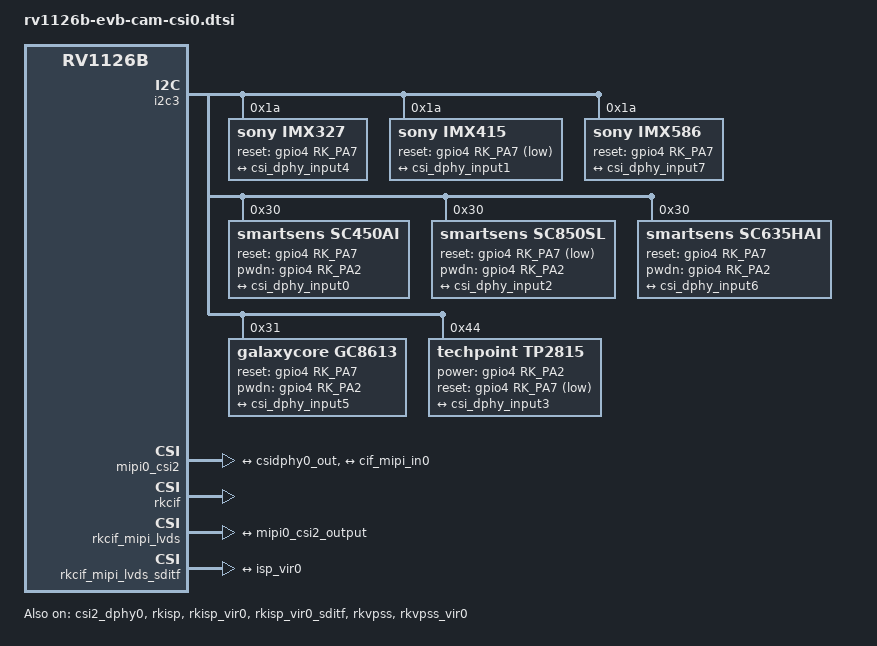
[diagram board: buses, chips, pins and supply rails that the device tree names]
// SPDX-License-Identifier: (GPL-2.0+ OR MIT)
/*
 * Copyright (c) 2025 Rockchip Electronics Co., Ltd.
 *
 */

&csi2_dphy0 {
	status = "okay";

	ports {
		#address-cells = <1>;
		#size-cells = <0>;
		port@0 {
			reg = <0>;
			#address-cells = <1>;
			#size-cells = <0>;

			csi_dphy_input0: endpoint@1 {
				reg = <1>;
				remote-endpoint = <&sc450ai_out>;
				data-lanes = <1 2>;
			};

			csi_dphy_input1: endpoint@2 {
				reg = <2>;
				remote-endpoint = <&imx415_out>;
				data-lanes = <1 2 3 4>;
			};

			csi_dphy_input2: endpoint@3 {
				reg = <3>;
				remote-endpoint = <&sc850sl_out>;
				data-lanes = <1 2 3 4>;
			};

			csi_dphy_input3: endpoint@4 {
				reg = <4>;
				remote-endpoint = <&tp2815_out>;
				data-lanes = <1 2 3 4>;
			};

			csi_dphy_input4: endpoint@5 {
				reg = <5>;
				remote-endpoint = <&imx327_out>;
				data-lanes = <4>;
			};

			csi_dphy_input5: endpoint@6 {
				reg = <6>;
				remote-endpoint = <&gc8613_out>;
				data-lanes = <1 2 3 4>;
			};

			csi_dphy_input6: endpoint@7 {
				reg = <7>;
				remote-endpoint = <&sc635hai_out>;
				data-lanes = <1 2 3 4>;
			};

			csi_dphy_input7: endpoint@8 {
				reg = <8>;
				remote-endpoint = <&imx586_out>;
				data-lanes = <1 2 3 4>;
			};
		};
		port@1 {
			reg = <1>;
			#address-cells = <1>;
			#size-cells = <0>;

			csidphy0_out: endpoint@0 {
				reg = <0>;
				remote-endpoint = <&mipi0_csi2_input>;
			};
		};
	};
};

&i2c3 {
	status = "okay";
	pinctrl-0 = <&i2c3m1_pins>;

	imx327: imx327@1a {
		compatible = "sony,imx327";
		reg = <0x1a>;
		clocks = <&cru CLK_MIPI0_OUT2IO>;
		clock-names = "xvclk";
		reset-gpios = <&gpio4 RK_PA7 GPIO_ACTIVE_HIGH>;
		pinctrl-names = "default";
		pinctrl-0 = <&cam_clk0_pins>;
		rockchip,camera-module-index = <0>;
		rockchip,camera-module-facing = "back";
		rockchip,camera-module-name = "default";
		rockchip,camera-module-lens-name = "default";
		port {
			imx327_out: endpoint {
				remote-endpoint = <&csi_dphy_input4>;
				bus-type = <3>;
				data-lanes = <4>;
			};
		};
	};

	imx415: imx415@1a {
		compatible = "sony,imx415";
		reg = <0x1a>;
		clocks = <&cru CLK_MIPI0_OUT2IO>;
		clock-names = "xvclk";
		reset-gpios = <&gpio4 RK_PA7 GPIO_ACTIVE_LOW>;
		pinctrl-names = "default";
		pinctrl-0 = <&cam_clk0_pins>;
		rockchip,camera-module-index = <0>;
		rockchip,camera-module-facing = "back";
		rockchip,camera-module-name = "default";
		rockchip,camera-module-lens-name = "default";
		port {
			imx415_out: endpoint {
				remote-endpoint = <&csi_dphy_input1>;
				data-lanes = <1 2 3 4>;
			};
		};
	};

	imx586: imx586@1a {
		compatible = "sony,imx586";
		reg = <0x1a>;
		clocks = <&cru CLK_MIPI0_OUT2IO>;
		clock-names = "xvclk";
		reset-gpios = <&gpio4 RK_PA7 GPIO_ACTIVE_HIGH>;
		pinctrl-names = "default";
		pinctrl-0 = <&cam_clk0_pins>;
		rockchip,camera-module-index = <0>;
		rockchip,camera-module-facing = "back";
		rockchip,camera-module-name = "default";
		rockchip,camera-module-lens-name = "default";
		port {
			imx586_out: endpoint {
				remote-endpoint = <&csi_dphy_input7>;
				data-lanes = <1 2 3 4>;
			};
		};
	};

	sc450ai: sc450ai@30 {
		compatible = "smartsens,sc450ai";
		status = "okay";
		reg = <0x30>;
		clocks = <&cru CLK_MIPI0_OUT2IO>;
		clock-names = "xvclk";
		reset-gpios = <&gpio4 RK_PA7 GPIO_ACTIVE_HIGH>;
		pwdn-gpios = <&gpio4 RK_PA2 GPIO_ACTIVE_HIGH>;
		pinctrl-names = "default";
		pinctrl-0 = <&cam_clk0_pins>;
		rockchip,camera-module-index = <0>;
		rockchip,camera-module-facing = "back";
		rockchip,camera-module-name = "default";
		rockchip,camera-module-lens-name = "default";
		port {
			sc450ai_out: endpoint {
				remote-endpoint = <&csi_dphy_input0>;
				data-lanes = <1 2>;
			};
		};
	};

	sc850sl: sc850sl@30 {
		compatible = "smartsens,sc850sl";
		status = "okay";
		reg = <0x30>;
		clocks = <&cru CLK_MIPI0_OUT2IO>;
		clock-names = "xvclk";
		reset-gpios = <&gpio4 RK_PA7 GPIO_ACTIVE_LOW>;
		pwdn-gpios = <&gpio4 RK_PA2 GPIO_ACTIVE_HIGH>;
		pinctrl-names = "default";
		pinctrl-0 = <&cam_clk0_pins>;
		rockchip,camera-module-index = <0>;
		rockchip,camera-module-facing = "back";
		rockchip,camera-module-name = "default";
		rockchip,camera-module-lens-name = "default";
		port {
			sc850sl_out: endpoint {
				remote-endpoint = <&csi_dphy_input2>;
				data-lanes = <1 2 3 4>;
			};
		};
	};

	sc635hai: sc635hai@30 {
		compatible = "smartsens,sc635hai";
		status = "okay";
		reg = <0x30>;
		clocks = <&cru CLK_MIPI0_OUT2IO>;
		clock-names = "xvclk";
		reset-gpios = <&gpio4 RK_PA7 GPIO_ACTIVE_HIGH>;
		pwdn-gpios = <&gpio4 RK_PA2 GPIO_ACTIVE_HIGH>;
		pinctrl-names = "default";
		pinctrl-0 = <&cam_clk0_pins>;
		rockchip,camera-module-index = <0>;
		rockchip,camera-module-facing = "back";
		rockchip,camera-module-name = "default";
		rockchip,camera-module-lens-name = "default";
		port {
			sc635hai_out: endpoint {
				remote-endpoint = <&csi_dphy_input6>;
				data-lanes = <1 2 3 4>;
			};
		};
	};

	gc8613: gc8613@31 {
		compatible = "galaxycore,gc8613";
		reg = <0x31>;
		clocks = <&cru CLK_MIPI0_OUT2IO>;
		clock-names = "xvclk";
		reset-gpios = <&gpio4 RK_PA7 GPIO_ACTIVE_HIGH>;
		pwdn-gpios = <&gpio4 RK_PA2 GPIO_ACTIVE_HIGH>;
		pinctrl-names = "default";
		pinctrl-0 = <&cam_clk0_pins>;
		rockchip,camera-module-index = <0>;
		rockchip,camera-module-facing = "back";
		rockchip,camera-module-name = "default";
		rockchip,camera-module-lens-name = "default";
		port {
			gc8613_out: endpoint {
				remote-endpoint = <&csi_dphy_input5>;
				data-lanes = <1 2 3 4>;
			};
		};
	};

	tp2815: tp2815@44 {
		compatible = "techpoint,tp2815";
		status = "okay";
		reg = <0x44>;
		clocks = <&cru CLK_MIPI0_OUT2IO>;
		clock-names = "xvclk";
		pinctrl-names = "default";
		pinctrl-0 = <&cam_clk0_pins>;
		power-gpios = <&gpio4 RK_PA2 GPIO_ACTIVE_HIGH>;
		reset-gpios = <&gpio4 RK_PA7 GPIO_ACTIVE_LOW>;
		rockchip,camera-module-index = <0>;
		rockchip,camera-module-facing = "back";
		rockchip,camera-module-name = "default";
		rockchip,camera-module-lens-name = "default";

		port {
			tp2815_out: endpoint {
				remote-endpoint = <&csi_dphy_input3>;
				data-lanes = <1 2 3 4>;
			};
		};
	};
};

&mipi0_csi2 {
	status = "okay";

	ports {
		#address-cells = <1>;
		#size-cells = <0>;

		port@0 {
			reg = <0>;
			#address-cells = <1>;
			#size-cells = <0>;

			mipi0_csi2_input: endpoint@1 {
				reg = <1>;
				remote-endpoint = <&csidphy0_out>;
			};
		};

		port@1 {
			reg = <1>;
			#address-cells = <1>;
			#size-cells = <0>;

			mipi0_csi2_output: endpoint@0 {
				reg = <0>;
				remote-endpoint = <&cif_mipi_in0>;
			};
		};
	};
};

&rkcif {
	status = "okay";
};

&rkcif_mipi_lvds {
	status = "okay";

	port {
		cif_mipi_in0: endpoint {
			remote-endpoint = <&mipi0_csi2_output>;
		};
	};
};

&rkcif_mipi_lvds_sditf {
	status = "okay";

	port {
		mipi_lvds_sditf: endpoint {
			remote-endpoint = <&isp_vir0>;
		};
	};
};

&rkcif_mmu {
	status = "okay";
};

&rkisp {
	status = "okay";
};

&rkisp_mmu {
	status = "okay";
};

&rkisp_vir0 {
	status = "okay";

	port {
		#address-cells = <1>;
		#size-cells = <0>;

		isp_vir0: endpoint@0 {
			reg = <0>;
			remote-endpoint = <&mipi_lvds_sditf>;
		};
	};
};

&rkisp_vir0_sditf {
	status = "okay";
};

&rkvpss {
	status = "okay";
	dvbm = <&rkdvbm>;
};

&rkvpss_mmu {
	status = "okay";
};

&rkvpss_vir0 {
	status = "okay";
};
